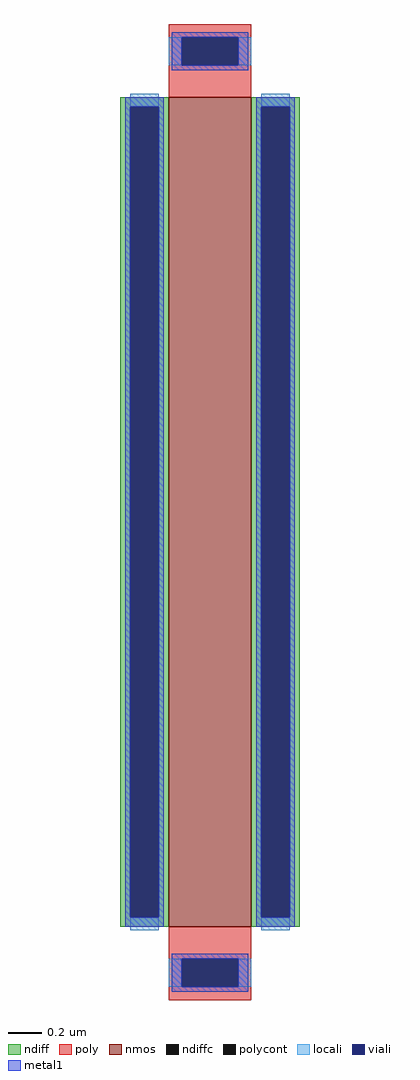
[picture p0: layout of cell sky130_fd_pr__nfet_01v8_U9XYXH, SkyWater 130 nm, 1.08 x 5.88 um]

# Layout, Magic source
magic
tech sky130A
<< nmos >>
rect -25 -250 25 250
<< ndiff >>
rect -54 244 -25 250
rect -54 -244 -48 244
rect -31 -244 -25 244
rect -54 -250 -25 -244
rect 25 244 54 250
rect 25 -244 31 244
rect 48 -244 54 244
rect 25 -250 54 -244
<< ndiffc >>
rect -48 -244 -31 244
rect 31 -244 48 244
<< poly >>
rect -25 286 25 294
rect -25 269 -17 286
rect 17 269 25 286
rect -25 250 25 269
rect -25 -269 25 -250
rect -25 -286 -17 -269
rect 17 -286 25 -269
rect -25 -294 25 -286
<< polycont >>
rect -17 269 17 286
rect -17 -286 17 -269
<< locali >>
rect -25 269 -17 286
rect 17 269 25 286
rect -48 244 -31 252
rect -48 -252 -31 -244
rect 31 244 48 252
rect 31 -252 48 -244
rect -25 -286 -17 -269
rect 17 -286 25 -269
<< viali >>
rect -17 269 17 286
rect -48 -244 -31 244
rect 31 -244 48 244
rect -17 -286 17 -269
<< metal1 >>
rect -23 286 23 289
rect -23 269 -17 286
rect 17 269 23 286
rect -23 266 23 269
rect -51 244 -28 250
rect -51 -244 -48 244
rect -31 -244 -28 244
rect -51 -250 -28 -244
rect 28 244 51 250
rect 28 -244 31 244
rect 48 -244 51 244
rect 28 -250 51 -244
rect -23 -269 23 -266
rect -23 -286 -17 -269
rect 17 -286 23 -269
rect -23 -289 23 -286
<< properties >>
string gencell sky130_fd_pr__nfet_01v8
string library sky130
string parameters w 5 l 0.5 m 1 nf 1 diffcov 100 polycov 100 guard 0 glc 0 grc 0 gtc 0 gbc 0 tbcov 100 rlcov 100 topc 1 botc 1 poverlap 0 doverlap 1 lmin 0.15 wmin 0.42 compatible {sky130_fd_pr__nfet_01v8 sky130_fd_pr__nfet_01v8_lvt  sky130_fd_bs_flash__special_sonosfet_star  sky130_fd_pr__nfet_g5v0d10v5 sky130_fd_pr__nfet_05v0_nvt  sky130_fd_pr__nfet_03v3_nvt} full_metal 0 viasrc 100 viadrn 100 viagate 100 viagb 0 viagr 0 viagl 0 viagt 0
<< end >>
